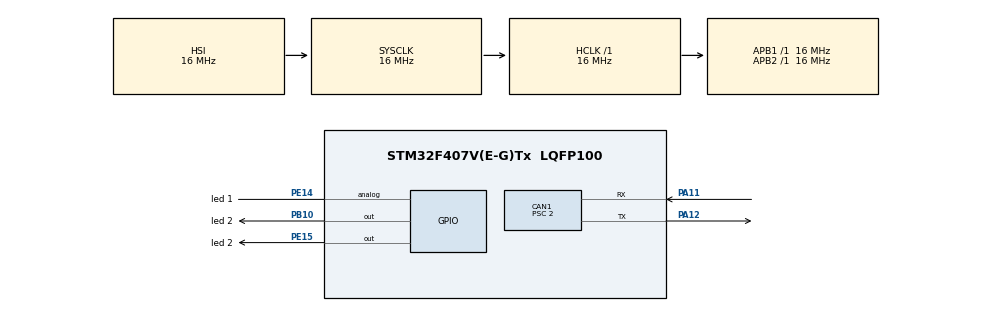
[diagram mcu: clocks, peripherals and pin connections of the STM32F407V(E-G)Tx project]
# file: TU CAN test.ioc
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Mcu.Family=STM32F4
RCC.CortexFreq_Value=16000000
CAN1.CalculateBaudRate=500000
PA11.Mode=CAN_Activate
PE14.GPIO_Label=led 1
ProjectManager.StackSize=0x400
PA12.Signal=CAN1_TX
PE15.GPIO_Label=led 2
CAN1.BS2=CAN_BS2_2TQ
ProjectManager.TargetToolchain=STM32CubeIDE
CAN1.BS1=CAN_BS1_13TQ
PB10.GPIO_Label=led 2
RCC.LSE_VALUE=32768
RCC.AHBFreq_Value=16000000
PB10.Signal=GPIO_Output
RCC.HSE_VALUE=25000000
board=custom
RCC.VCOOutputFreq_Value=192000000
RCC.APB2Freq_Value=16000000
PE14.Signal=GPIO_Analog
PE15.Signal=GPIO_Output
Mcu.Name=STM32F407V(E-G)Tx
RCC.SYSCLKFreq_VALUE=16000000
CAN1.Prescaler=2
Mcu.Package=LQFP100
PA12.Mode=CAN_Activate
PA11.Signal=CAN1_RX
ProjectManager.HeapSize=0x200
RCC.HSI_VALUE=16000000
NVIC.PriorityGroup=NVIC_PRIORITYGROUP_4
RCC.APB1Freq_Value=16000000
CAN1.CalculateTimeBit=2000.00
NVIC.CAN1_RX0_IRQn=true\:0\:0\:false\:false\:true\:true\:true
CAN1.CalculateTimeQuantum=125.0

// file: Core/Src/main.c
/* USER CODE BEGIN Header */
/**
  ******************************************************************************
  * @file           : main.c
  * @brief          : Main program body
  ******************************************************************************
  * @attention
  *
  * <h2><center>&copy; Copyright (c) 2021 STMicroelectronics.
  * All rights reserved.</center></h2>
  *
  * This software component is licensed by ST under BSD 3-Clause license,
  * the "License"; You may not use this file except in compliance with the
  * License. You may obtain a copy of the License at:
  *                        opensource.org/licenses/BSD-3-Clause
  *
  ******************************************************************************
  */
/* USER CODE END Header */
#include "main.h"

/* USER CODE BEGIN PD */

CAN_TxHeaderTypeDef tx_header;
CAN_RxHeaderTypeDef rx_header;
CAN_FilterTypeDef sFilterConfig;
uint8_t rx_data[8];

/* USER CODE END PD */

CAN_HandleTypeDef hcan1;

void SystemClock_Config(void);
static void MX_GPIO_Init(void);
static void MX_CAN1_Init(void);

int main(void)
{

  /* MCU Configuration--------------------------------------------------------*/

  /* Reset of all peripherals, Initializes the Flash interface and the Systick. */
  HAL_Init();

  /* Configure the system clock */
  SystemClock_Config();

  /* Initialize all configured peripherals */
  MX_GPIO_Init();
  MX_CAN1_Init();
  /* USER CODE BEGIN 2 */

  //Konfigurerar filterbanker till id list mode
  sFilterConfig.FilterFIFOAssignment = CAN_FILTER_FIFO0;
  sFilterConfig.FilterMode = CAN_FILTERMODE_IDLIST;

  //Väljer vilket av de 28 (delade) filterbankerna som ska användas
  //Det behövs en ny struct för varje ny filterbank (?).
  sFilterConfig.FilterBank = 0;
  //Fyller i de 4 elementen i filterbank 0. Bitarna måste skiftas 5 vänster
  sFilterConfig.FilterIdHigh = 1 << 5;
  sFilterConfig.FilterIdLow = 2 << 5;
  sFilterConfig.FilterMaskIdHigh = 3 << 5;
  sFilterConfig.FilterMaskIdLow = 4 << 5;

  //Om scale är 32 bit ist för 16 kan inte 4 IDs per bank användas.
  sFilterConfig.FilterScale = CAN_FILTERSCALE_16BIT;
  sFilterConfig.FilterActivation = ENABLE;

  if (HAL_CAN_ConfigFilter(&hcan1, &sFilterConfig) != HAL_OK )
  {
	  Error_Handler();
  }

  HAL_CAN_Start(&hcan1);
  HAL_CAN_ActivateNotification(&hcan1, CAN_IT_RX_FIFO0_MSG_PENDING);

  uint8_t tx_data[] = {1,2,3,4,5,6,7,8};
  uint32_t tx_mailbox;

  tx_header.DLC = 8;
  tx_header.StdId = 1600;
  tx_header.IDE = CAN_ID_STD;
  tx_header.RTR = CAN_RTR_DATA;
  tx_header.TransmitGlobalTime = DISABLE;

  /* USER CODE END 2 */

  /* Infinite loop */
  /* USER CODE BEGIN WHILE */
  while (1)
  {
	  HAL_GPIO_TogglePin(led_2_GPIO_Port, led_2_Pin);

		  if (HAL_CAN_AddTxMessage(&hcan1, &tx_header, tx_data, &tx_mailbox) != HAL_OK)
		  {
			  Error_Handler();
		  }

		  HAL_Delay(100);

    /* USER CODE END WHILE */

  }
}

void SystemClock_Config(void)
{
  RCC_OscInitTypeDef RCC_OscInitStruct = {0};
  RCC_ClkInitTypeDef RCC_ClkInitStruct = {0};

  /** Configure the main internal regulator output voltage
  */
  __HAL_RCC_PWR_CLK_ENABLE();
  __HAL_PWR_VOLTAGESCALING_CONFIG(PWR_REGULATOR_VOLTAGE_SCALE1);
  /** Initializes the RCC Oscillators according to the specified parameters
  * in the RCC_OscInitTypeDef structure.
  */
  RCC_OscInitStruct.OscillatorType = RCC_OSCILLATORTYPE_HSI;
  RCC_OscInitStruct.HSIState = RCC_HSI_ON;
  RCC_OscInitStruct.HSICalibrationValue = RCC_HSICALIBRATION_DEFAULT;
  RCC_OscInitStruct.PLL.PLLState = RCC_PLL_NONE;
  if (HAL_RCC_OscConfig(&RCC_OscInitStruct) != HAL_OK)
  {
    Error_Handler();
  }
  /** Initializes the CPU, AHB and APB buses clocks
  */
  RCC_ClkInitStruct.ClockType = RCC_CLOCKTYPE_HCLK|RCC_CLOCKTYPE_SYSCLK
                              |RCC_CLOCKTYPE_PCLK1|RCC_CLOCKTYPE_PCLK2;
  RCC_ClkInitStruct.SYSCLKSource = RCC_SYSCLKSOURCE_HSI;
  RCC_ClkInitStruct.AHBCLKDivider = RCC_SYSCLK_DIV1;
  RCC_ClkInitStruct.APB1CLKDivider = RCC_HCLK_DIV1;
  RCC_ClkInitStruct.APB2CLKDivider = RCC_HCLK_DIV1;

  if (HAL_RCC_ClockConfig(&RCC_ClkInitStruct, FLASH_LATENCY_0) != HAL_OK)
  {
    Error_Handler();
  }
}

static void MX_CAN1_Init(void)
{

  hcan1.Instance = CAN1;
  hcan1.Init.Prescaler = 2;
  hcan1.Init.Mode = CAN_MODE_NORMAL;
  hcan1.Init.SyncJumpWidth = CAN_SJW_1TQ;
  hcan1.Init.TimeSeg1 = CAN_BS1_13TQ;
  hcan1.Init.TimeSeg2 = CAN_BS2_2TQ;
  hcan1.Init.TimeTriggeredMode = DISABLE;
  hcan1.Init.AutoBusOff = DISABLE;
  hcan1.Init.AutoWakeUp = DISABLE;
  hcan1.Init.AutoRetransmission = DISABLE;
  hcan1.Init.ReceiveFifoLocked = DISABLE;
  hcan1.Init.TransmitFifoPriority = DISABLE;
  if (HAL_CAN_Init(&hcan1) != HAL_OK)
  {
    Error_Handler();
  }

}

static void MX_GPIO_Init(void)
{
  GPIO_InitTypeDef GPIO_InitStruct = {0};

  /* GPIO Ports Clock Enable */
  __HAL_RCC_GPIOE_CLK_ENABLE();
  __HAL_RCC_GPIOB_CLK_ENABLE();
  __HAL_RCC_GPIOA_CLK_ENABLE();

  /*Configure GPIO pin Output Level */
  HAL_GPIO_WritePin(led_2_GPIO_Port, led_2_Pin, GPIO_PIN_RESET);

  /*Configure GPIO pin Output Level */
  HAL_GPIO_WritePin(led_2B10_GPIO_Port, led_2B10_Pin, GPIO_PIN_RESET);

  /*Configure GPIO pin : led_1_Pin */
  GPIO_InitStruct.Pin = led_1_Pin;
  GPIO_InitStruct.Mode = GPIO_MODE_ANALOG;
  GPIO_InitStruct.Pull = GPIO_NOPULL;
  HAL_GPIO_Init(led_1_GPIO_Port, &GPIO_InitStruct);

  /*Configure GPIO pin : led_2_Pin */
  GPIO_InitStruct.Pin = led_2_Pin;
  GPIO_InitStruct.Mode = GPIO_MODE_OUTPUT_PP;
  GPIO_InitStruct.Pull = GPIO_NOPULL;
  GPIO_InitStruct.Speed = GPIO_SPEED_FREQ_LOW;
  HAL_GPIO_Init(led_2_GPIO_Port, &GPIO_InitStruct);

  /*Configure GPIO pin : led_2B10_Pin */
  GPIO_InitStruct.Pin = led_2B10_Pin;
  GPIO_InitStruct.Mode = GPIO_MODE_OUTPUT_PP;
  GPIO_InitStruct.Pull = GPIO_NOPULL;
  GPIO_InitStruct.Speed = GPIO_SPEED_FREQ_LOW;
  HAL_GPIO_Init(led_2B10_GPIO_Port, &GPIO_InitStruct);

}

void Error_Handler(void)
{
  __disable_irq();
  while (1)
  {
  }
}

/************************ (C) COPYRIGHT STMicroelectronics *****END OF FILE****/
